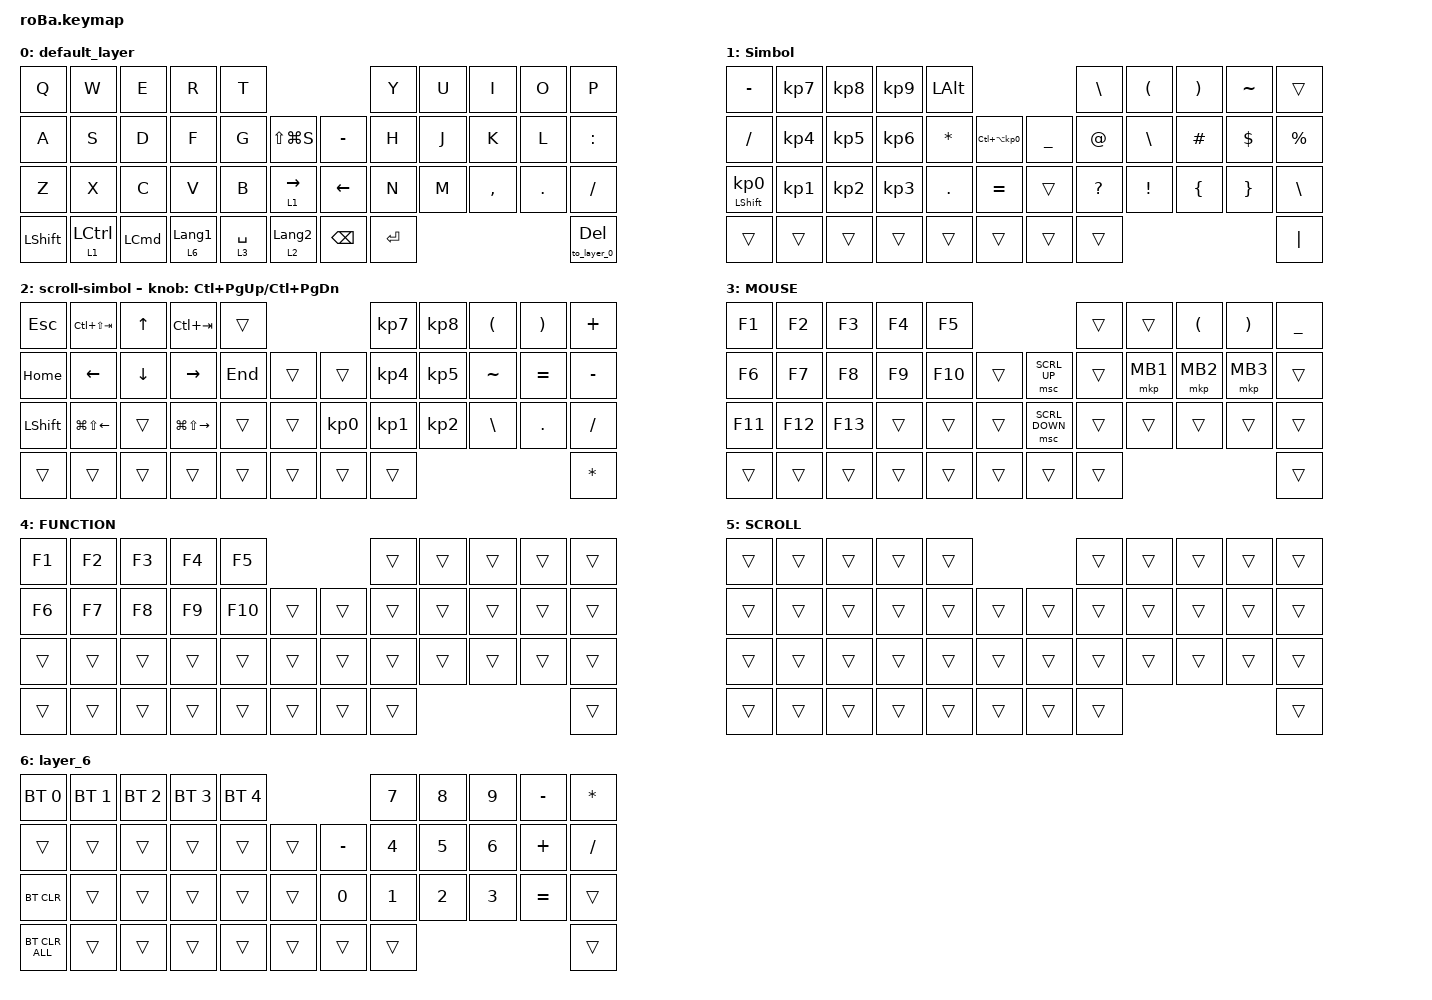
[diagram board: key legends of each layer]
#include <behaviors.dtsi>
#include <dt-bindings/zmk/bt.h>
#include <dt-bindings/zmk/keys.h>
#include <dt-bindings/zmk/pointing.h>

#define MOUSE 4
#define SCROLL 5
#define NUM 6

&mt {
    flavor = "balanced";
    quick-tap-ms = <0>;
};

/ {
    combos {
        compatible = "zmk,combos";

        tab {
            bindings = <&kp TAB>;
            key-positions = <11 12>;
        };

        shift_tab {
            bindings = <&kp LS(TAB)>;
            key-positions = <12 13>;
        };

        muhennkann {
            bindings = <&to_layer_0 INT_MUHENKAN>;
            key-positions = <11 10>;
        };

        double_quotation {
            bindings = <&kp DOUBLE_QUOTES>;
            key-positions = <20 21>;
        };

        eq {
            bindings = <&kp EQUAL>;
            key-positions = <24 25>;
        };
    };

    macros {
        to_layer_0: to_layer_0 {
            compatible = "zmk,behavior-macro-one-param";
            #binding-cells = <1>;
            bindings = <&to 0 &macro_param_1to1 &kp MACRO_PLACEHOLDER>;
            label = "TO_LAYER_0";
        };
    };

    behaviors {
        lt_to_layer_0: lt_to_layer_0 {
            compatible = "zmk,behavior-hold-tap";
            label = "LAYER_TAP_TO_0";
            bindings = <&mo>, <&to_layer_0>;

            #binding-cells = <2>;
            tapping-term-ms = <200>;
        };
    };

    keymap {
        compatible = "zmk,keymap";

        default_layer {
            bindings = <
&kp Q           &kp W               &kp E             &kp R             &kp T                                               &kp Y      &kp U  &kp I      &kp O    &kp P
&kp A           &kp S               &kp D             &kp F             &kp G        &kp LS(LG(S))          &kp MINUS       &kp H      &kp J  &kp K      &kp L    &kp COLON
&kp Z           &kp X               &kp C             &kp V             &kp B        &lt 1 RIGHT_ARROW      &kp LEFT_ARROW  &kp N      &kp M  &kp COMMA  &kp DOT  &kp SLASH
&kp LEFT_SHIFT  &lt 1 LEFT_CONTROL  &kp LEFT_COMMAND  &lt 6 LANGUAGE_1  &lt 3 SPACE  &lt 2 LANGUAGE_2       &kp BACKSPACE   &kp ENTER                             &to_layer_0 DEL
            >;
        };

        Simbol {
            bindings = <
&kp MINUS                   &kp KP_NUMBER_7  &kp KP_NUMBER_8  &kp KP_NUMBER_9  &kp LEFT_ALT                                               &kp BACKSLASH  &kp LPAR  &kp RPAR        &kp TILDE        &trans
&kp SLASH                   &kp KP_NUMBER_4  &kp KP_NUMBER_5  &kp KP_NUMBER_6  &kp ASTERISK  &kp LC(LA(KP_NUMBER_0))      &kp UNDERSCORE  &kp AT         &kp BSLH  &kp HASH        &kp DOLLAR       &kp PERCENT
&mt LEFT_SHIFT KP_NUMBER_0  &kp KP_NUMBER_1  &kp KP_NUMBER_2  &kp KP_NUMBER_3  &kp PERIOD    &kp EQUAL                    &trans          &kp QMARK      &kp EXCL  &kp LEFT_BRACE  &kp RIGHT_BRACE  &kp BACKSLASH
&trans                      &trans           &trans           &trans           &trans        &trans                       &trans          &trans                                                    &kp PIPE
            >;
        };

        scroll-simbol {
            bindings = <
&kp ESCAPE      &kp LC(LS(TAB))         &kp UP_ARROW    &kp LC(TAB)              &trans                                &kp KP_NUMBER_7  &kp KP_NUMBER_8  &kp LEFT_PARENTHESIS  &kp RIGHT_PARENTHESIS  &kp PLUS
&kp HOME        &kp LEFT_ARROW          &kp DOWN_ARROW  &kp RIGHT_ARROW          &kp END  &trans      &trans           &kp KP_NUMBER_4  &kp KP_NUMBER_5  &kp TILDE             &kp EQUAL              &kp MINUS
&kp LEFT_SHIFT  &kp LG(LS(LEFT_ARROW))  &trans          &kp LG(LS(RIGHT_ARROW))  &trans   &trans      &kp KP_NUMBER_0  &kp KP_NUMBER_1  &kp KP_NUMBER_2  &kp BACKSLASH         &kp PERIOD             &kp SLASH
&trans          &trans                  &trans          &trans                   &trans   &trans      &trans           &trans                                                                         &kp ASTERISK
            >;

            sensor-bindings = <&inc_dec_kp LC(PAGE_UP) LC(PAGE_DOWN)>;
        };

        MOUSE {
            bindings = <
&kp F1   &kp F2   &kp F3   &kp F4  &kp F5                               &trans  &trans    &kp LEFT_PARENTHESIS  &kp RIGHT_PARENTHESIS  &kp UNDERSCORE
&kp F6   &kp F7   &kp F8   &kp F9  &kp F10  &trans      &msc SCRL_UP    &trans  &mkp MB1  &mkp MB2              &mkp MB3               &trans
&kp F11  &kp F12  &kp F13  &trans  &trans   &trans      &msc SCRL_DOWN  &trans  &trans    &trans                &trans                 &trans
&trans   &trans   &trans   &trans  &trans   &trans      &trans          &trans                                                         &trans
            >;
        };

        FUNCTION {
            bindings = <
&kp F1  &kp F2  &kp F3  &kp F4  &kp F5                       &trans  &trans  &trans  &trans  &trans
&kp F6  &kp F7  &kp F8  &kp F9  &kp F10  &trans      &trans  &trans  &trans  &trans  &trans  &trans
&trans  &trans  &trans  &trans  &trans   &trans      &trans  &trans  &trans  &trans  &trans  &trans
&trans  &trans  &trans  &trans  &trans   &trans      &trans  &trans                          &trans
            >;
        };

        SCROLL {
            bindings = <
&trans  &trans  &trans  &trans  &trans                      &trans  &trans  &trans  &trans  &trans
&trans  &trans  &trans  &trans  &trans  &trans      &trans  &trans  &trans  &trans  &trans  &trans
&trans  &trans  &trans  &trans  &trans  &trans      &trans  &trans  &trans  &trans  &trans  &trans
&trans  &trans  &trans  &trans  &trans  &trans      &trans  &trans                          &trans
            >;
        };

        layer_6 {
            bindings = <
&bt BT_SEL 0    &bt BT_SEL 1  &bt BT_SEL 2  &bt BT_SEL 3  &bt BT_SEL 4                            &kp NUMBER_7  &kp NUMBER_8  &kp NUMBER_9  &kp MINUS  &kp ASTERISK
&trans          &trans        &trans        &trans        &trans        &trans      &kp MINUS     &kp NUMBER_4  &kp NUMBER_5  &kp NUMBER_6  &kp PLUS   &kp SLASH
&bt BT_CLR      &trans        &trans        &trans        &trans        &trans      &kp NUMBER_0  &kp NUMBER_1  &kp NUMBER_2  &kp NUMBER_3  &kp EQUAL  &trans
&bt BT_CLR_ALL  &trans        &trans        &trans        &trans        &trans      &trans        &trans                                               &trans
            >;
        };
    };
};
